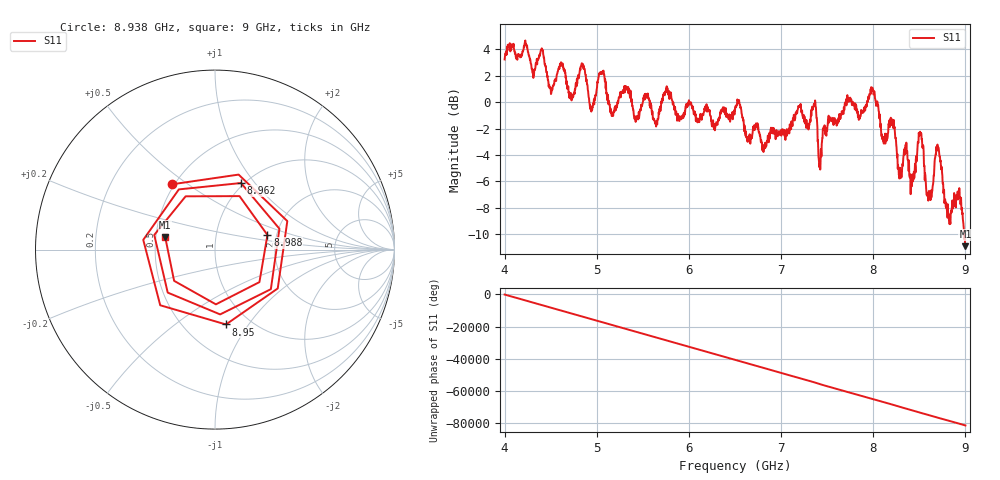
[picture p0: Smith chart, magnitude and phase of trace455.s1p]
! Created with skrf 1.8.0 (http://scikit-rf.org).
# Hz S RI R 50.0
!freq ReS11 ImS11
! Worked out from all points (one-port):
!   1601 points, 4 GHz to 9 GHz, reference 50 ohm
!   lowest |S11| = -10.9 dB at 9 GHz (marker M1), VSWR 1.80, Z = 28.1 + j4.19 ohm
!   |S11| at or under -10 dB: 8.985853 GHz to end of sweep
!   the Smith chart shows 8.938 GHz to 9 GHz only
!   S11 on the Smith chart (normalised r, x): 8.938 GHz: 0.49, +0.44; 8.95 GHz: 0.78, -0.79; 8.962 GHz: 0.97, +0.85; 8.988 GHz: 1.79, +0.32; 9 GHz: 0.56, +0.08
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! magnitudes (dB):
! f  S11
! 4 GHz  3.2
! 4.625 GHz  2.7
! 4.719 GHz  0.6
! 4.844 GHz  2.7
! 4.941 GHz  -0.7
! 5.25 GHz  0.5
! 5.875 GHz  -0.9
! 6.5 GHz  -0.6
! 6.816 GHz  -3.6
! 7.125 GHz  -1.8
! 7.356 GHz  -0.1
! 7.422 GHz  -4.7
! 7.75 GHz  0.3
! 7.994 GHz  0.9
! 8.109 GHz  -2.9
! 8.209 GHz  -1.5
! 8.291 GHz  -5.0
! 8.375 GHz  -4.4
! 8.425 GHz  -5.5
! 8.519 GHz  -2.3
! 8.6 GHz  -7.2
! 8.7 GHz  -3.4
! 8.812 GHz  -8.4
! 8.938 GHz  -7.2
! 8.95 GHz  -7.5
! 8.962 GHz  -8.0
! 8.988 GHz  -10.4
! 9 GHz  -10.9
